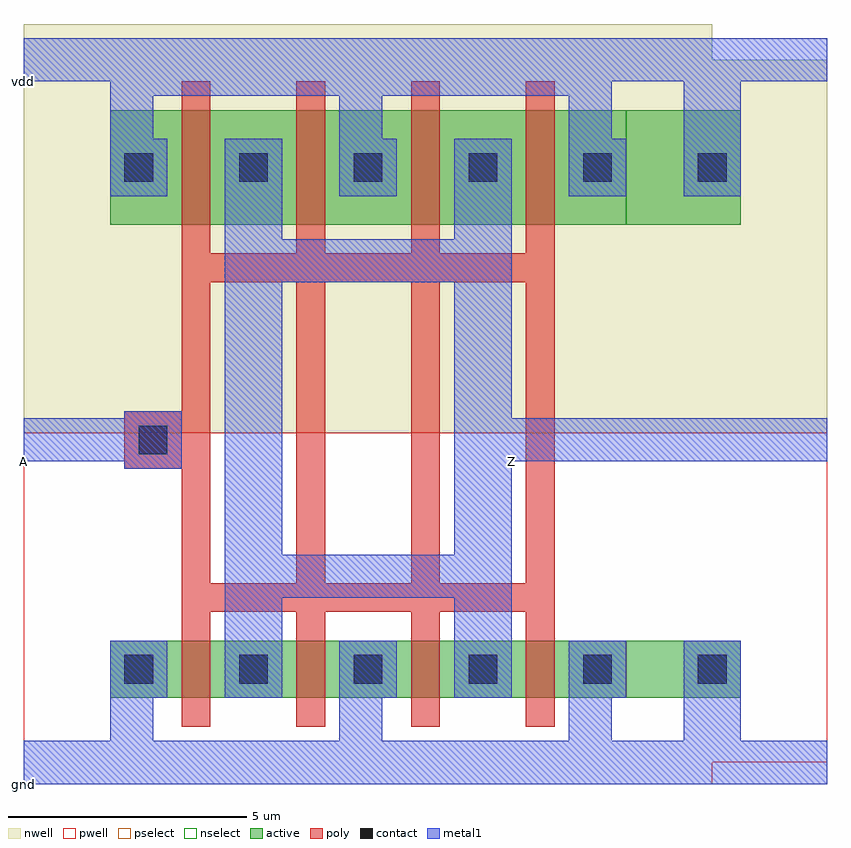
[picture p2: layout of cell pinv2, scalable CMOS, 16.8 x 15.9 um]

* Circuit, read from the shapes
.subckt pinv2 A Z gnd vdd
M1 Z A gnd gnd nfet w=1.2u l=0.6u m=4
M2 Z A vdd vdd pfet w=2.4u l=0.6u m=4
.ends

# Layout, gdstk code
from math import pi, radians
import gdstk
lib = gdstk.Library(unit=1e-6, precision=1e-09)
def R(c, l, rs):  # rectangles x0, y0, x1, y1
    for r in rs: c.add(gdstk.rectangle(r[:2], r[2:], *l))
def A(c, l, x, y, w, h, nx, ny, dx, dy):  # array of equal rectangles
    R(c, l, [(x+i*dx, y+j*dy, x+i*dx+w, y+j*dy+h) for i in range(nx) for j in range(ny)])
contact = (25, 0)
pwell = (41, 0)
nwell = (42, 0)
active = (43, 0)
pselect = (44, 0)
nselect = (45, 0)
poly = (46, 0)
metal1 = (49, 0)

active_contact_metal1_1x = lib.new_cell('active_contact_metal1_1x1')
R(active_contact_metal1_1x, contact, [(0.3,0.3,0.9,0.9)])
R(active_contact_metal1_1x, active, [(0,0,1.2,1.2)])
R(active_contact_metal1_1x, metal1, [(0,0,1.2,1.2)])

path_2 = lib.new_cell('path_2')
R(path_2, metal1, [(-0.45,0,0.45,2.1), (4.35,0,5.25,2.1), (4.35,0,5.25,2.55), (9.15,0,10.05,2.55), (-0.45,2.1,0.45,3), (-0.45,2.1,0.45,2.55), (0,2.1,4.8,3), (4.35,2.1,5.25,3), (4.35,2.1,5.25,3), (4.35,2.1,5.25,2.55), (4.8,2.1,9.6,3), (9.15,2.1,10.05,3)])

path_3 = lib.new_cell('path_3')
R(path_3, metal1, [(-0.45,-1.8,0.45,-0.9), (0,-1.8,4.8,-0.9), (4.35,-1.8,5.25,-0.9), (-0.45,-1.35,0.45,-0.9), (4.35,-1.35,5.25,0), (-0.45,-0.9,0.45,0)])

nmos_m4_w1_2 = lib.new_cell('nmos_m4_w1.2')
R(nmos_m4_w1_2, pwell, [(0,0,14.4,4.8)])
R(nmos_m4_w1_2, active, [(1.8,1.8,12.6,3)])
R(nmos_m4_w1_2, nselect, [(1.8,1.8,12.6,3)])
A(nmos_m4_w1_2, poly, 3.3, 1.2, 0.6, 2.4, 4, 1, 2.4, 0)
R(nmos_m4_w1_2, poly, [(3.3,0.6,11.1,1.2)])
nmos_m4_w1_2.add(gdstk.Reference(active_contact_metal1_1x, (1.8,1.8)))
nmos_m4_w1_2.add(gdstk.Reference(active_contact_metal1_1x, (4.2,1.8)))
nmos_m4_w1_2.add(gdstk.Reference(active_contact_metal1_1x, (6.6,1.8)))
nmos_m4_w1_2.add(gdstk.Reference(active_contact_metal1_1x, (9,1.8)))
nmos_m4_w1_2.add(gdstk.Reference(active_contact_metal1_1x, (11.4,1.8)))
nmos_m4_w1_2.add(gdstk.Reference(path_2, (2.25,1.8)))
nmos_m4_w1_2.add(gdstk.Reference(path_3, (4.65,1.8)))

path_4 = lib.new_cell('path_4')
R(path_4, metal1, [(-0.45,0,0.45,2.1), (4.35,0,5.25,2.1), (4.35,0,5.25,2.55), (9.15,0,10.05,2.55), (-0.45,2.1,0.45,3), (-0.45,2.1,0.45,2.55), (0,2.1,4.8,3), (4.35,2.1,5.25,3), (4.35,2.1,5.25,3), (4.35,2.1,5.25,2.55), (4.8,2.1,9.6,3), (9.15,2.1,10.05,3)])

path_5 = lib.new_cell('path_5')
R(path_5, metal1, [(-0.45,-1.8,0.45,-0.9), (0,-1.8,4.8,-0.9), (4.35,-1.8,5.25,-0.9), (-0.45,-1.35,0.45,-0.9), (4.35,-1.35,5.25,0), (-0.45,-0.9,0.45,0)])

pmos_m4_w2_4 = lib.new_cell('pmos_m4_w2.4')
R(pmos_m4_w2_4, nwell, [(0,0,14.4,6)])
R(pmos_m4_w2_4, active, [(1.8,1.8,12.6,4.2)])
R(pmos_m4_w2_4, pselect, [(1.8,1.8,12.6,4.2)])
A(pmos_m4_w2_4, poly, 3.3, 1.2, 0.6, 3.6, 4, 1, 2.4, 0)
R(pmos_m4_w2_4, poly, [(3.3,0.6,11.1,1.2)])
pmos_m4_w2_4.add(gdstk.Reference(active_contact_metal1_1x, (1.8,2.4)))
pmos_m4_w2_4.add(gdstk.Reference(active_contact_metal1_1x, (4.2,2.4)))
pmos_m4_w2_4.add(gdstk.Reference(active_contact_metal1_1x, (6.6,2.4)))
pmos_m4_w2_4.add(gdstk.Reference(active_contact_metal1_1x, (9,2.4)))
pmos_m4_w2_4.add(gdstk.Reference(active_contact_metal1_1x, (11.4,2.4)))
pmos_m4_w2_4.add(gdstk.Reference(path_4, (2.25,2.4)))
pmos_m4_w2_4.add(gdstk.Reference(path_5, (4.65,2.4)))

poly_contact_metal1_1x1 = lib.new_cell('poly_contact_metal1_1x1')
R(poly_contact_metal1_1x1, contact, [(0.3,0.3,0.9,0.9)])
R(poly_contact_metal1_1x1, poly, [(0,0,1.2,1.2)])
R(poly_contact_metal1_1x1, metal1, [(0,0,1.2,1.2)])

pinv2 = lib.new_cell('pinv2')
R(pinv2, pwell, [(0,0,16.8,6.9)])
R(pinv2, nwell, [(0,6.9,16.8,14.7)])
R(pinv2, active, [(1.8,1.35,15,2.55), (1.8,11.25,15,13.65)])
R(pinv2, pselect, [(12.6,1.35,15,2.55)])
R(pinv2, nselect, [(12.6,11.25,15,13.65)])
A(pinv2, poly, 3.3, 3.15, 0.6, 7.5, 4, 1, 2.4, 0)
R(pinv2, poly, [(3.3,6.15,3.9,7.35)])
R(pinv2, metal1, [(0,-0.45,16.8,0.45), (13.8,0.45,15,2.25), (4.2,2.55,5.4,12), (9,2.55,10.2,12), (0,6.3,2.1,7.2), (10.2,6.3,16.8,7.2), (13.8,11.85,15,14.25), (0,14.25,16.8,15.15)])
pinv2.add(gdstk.Reference(nmos_m4_w1_2, (0,4.35), x_reflection=True))
pinv2.add(gdstk.Reference(pmos_m4_w2_4, (0,9.45)))
pinv2.add(gdstk.Reference(active_contact_metal1_1x, (13.8,11.85)))
pinv2.add(gdstk.Reference(active_contact_metal1_1x, (13.8,1.35)))
pinv2.add(gdstk.Reference(poly_contact_metal1_1x1, (3.3,6.15), rotation=pi/2))
pinv2.add(gdstk.Label('gnd', (0,-0.45), layer=49, texttype=0))
pinv2.add(gdstk.Label('vdd', (0,14.25), layer=49, texttype=0))
pinv2.add(gdstk.Label('A', (0,6.3), layer=49, texttype=0))
pinv2.add(gdstk.Label('Z', (10.2,6.3), layer=49, texttype=0))

lib.write_gds('pinv2.gds')
